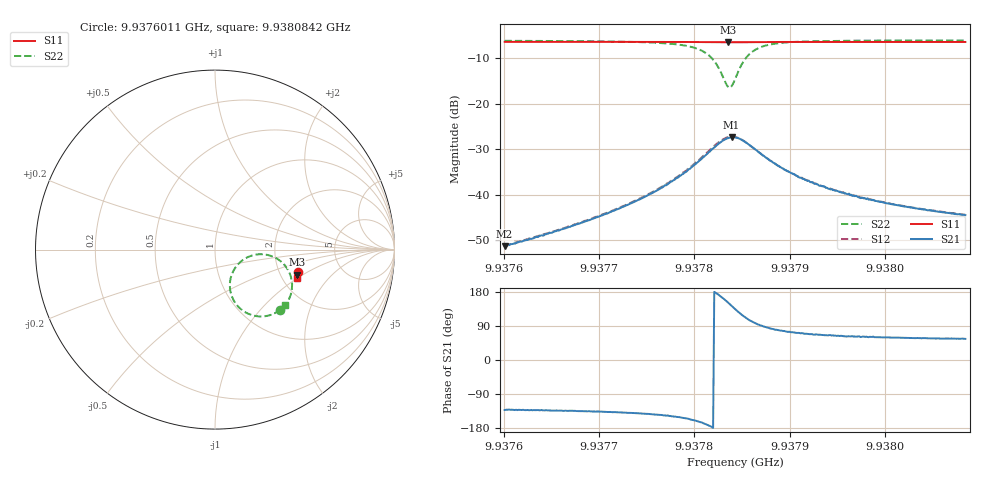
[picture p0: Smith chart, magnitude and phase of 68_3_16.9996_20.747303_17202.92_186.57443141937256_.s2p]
#  HZ  S  RI  R  50.00
! Rohde & Schwarz Vector Network Analyzer
! Rohde-Schwarz,ZNB20-2Port,1311601062101988,3.16
! Created: UTC 3/20/2024, 10:55:06 PM
! freq[Hz]  re:S11  im:S11  re:S21  im:S21  re:S12  im:S12  re:S22  im:S22
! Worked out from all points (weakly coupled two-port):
!   401 points, 9.9376011 GHz to 9.9380842 GHz, reference 50 ohm
!   highest |S21| = -27.35 dB at 9.937839 GHz (marker M1); lowest = -51.4 dB at 9.9376011 GHz (marker M2)
!   lowest |S11| = -6.4 dB at 9.9378354 GHz (marker M3), VSWR 2.82, Z = 122 - j44.1 ohm
!   |S11| at or under -10 dB: nowhere
!   |S22| runs from -16.4 to -6.0 dB; largest |S21 - S12| = 0.0027
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9.9376011e9  0.4651 -0.1258  -0.0018 -0.00201  -0.00186 -0.00206  0.3641 -0.335
9.93768202e9  0.4633 -0.1314  -0.00347 -0.00347  -0.00359 -0.00348  0.3449 -0.3483
9.9377255e9  0.4622 -0.1345  -0.00553 -0.00483  -0.00574 -0.00484  0.3242 -0.3588
9.93776295e9  0.4608 -0.1372  -0.00935 -0.0066  -0.00969 -0.00661  0.2887 -0.3697
9.93779314e9  0.4591 -0.1394  -0.0168 -0.00787  -0.0176 -0.00767  0.2245 -0.3697
9.93781126e9  0.4576 -0.1406  -0.0263 -0.00537  -0.0273 -0.00479  0.1491 -0.3357
9.9378173e9  0.457 -0.1408  -0.0306 -0.0025  -0.0317 -0.00141  0.1186 -0.3046
9.93782213e9  0.4562 -0.1407  -0.0339 0.00135  -0.0352 0.00272  0.0967 -0.2672
9.93782938e9  0.4555 -0.1401  -0.0376 0.0103  -0.0382 0.0123  0.0829 -0.1876
9.93783542e9  0.4552 -0.1394  -0.0368 0.02  -0.0368 0.0224  0.1068 -0.1108
9.93783904e9  0.4554 -0.1389  -0.0344 0.0257  -0.0335 0.0279  0.1391 -0.071
9.93784266e9  0.4556 -0.1384  -0.03 0.0304  -0.0289 0.0323  0.1815 -0.0424
9.9378487e9  0.4565 -0.1382  -0.0211 0.0347  -0.0195 0.036  0.2586 -0.0257
9.93785353e9  0.4572 -0.1383  -0.0144 0.035  -0.0128 0.0358  0.312 -0.0351
9.93785957e9  0.4578 -0.1387  -0.00761 0.0333  -0.00617 0.0335  0.3611 -0.0614
9.93786682e9  0.4583 -0.1394  -0.0019 0.0297  -0.00105 0.0296  0.397 -0.0983
9.93787769e9  0.4588 -0.1407  0.00239 0.0244  0.00306 0.0244  0.4213 -0.1466
9.9378946e9  0.4587 -0.1425  0.0044 0.0183  0.00507 0.0182  0.4298 -0.1977
9.93792359e9  0.4582 -0.1448  0.00512 0.0127  0.00548 0.0126  0.4238 -0.2445
9.93796345e9  0.4573 -0.1481  0.00458 0.00874  0.00484 0.00872  0.4126 -0.275
9.93800451e9  0.4561 -0.1508  0.00404 0.00685  0.00423 0.00684  0.4035 -0.2919
9.93808423e9  0.4541 -0.1562  0.00334 0.00491  0.00344 0.00491  0.3913 -0.3099
